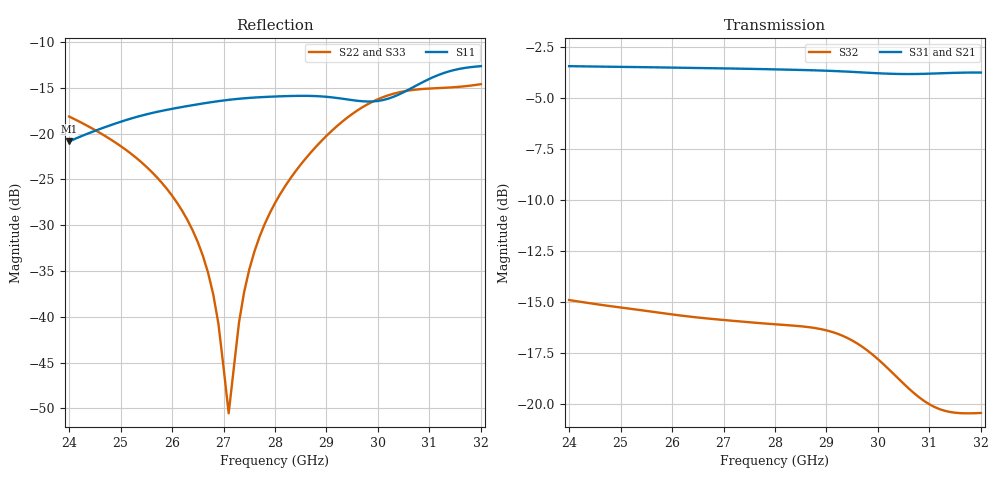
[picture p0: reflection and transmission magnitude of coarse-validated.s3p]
# GHz S RI R 50
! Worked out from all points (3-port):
!   81 points, 24 GHz to 32 GHz, reference 50 ohm
!   strongest paths, dB at 24 GHz, 26 GHz, 28 GHz, 30 GHz, 32 GHz:
!     S31: -3.4, -3.5, -3.6, -3.8, -3.7
!     S21: -3.4, -3.5, -3.6, -3.8, -3.7
!     S32: -14.9, -15.6, -16.1, -17.8, -20.4
!   lowest |S11| = -20.9 dB at 24 GHz (marker M1), VSWR 1.20, Z = 47.4 + j8.45 ohm
!   |S11| at or under -10 dB: start of sweep to end of sweep
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24  -0.0194 0.0884  0.6457 0.2072  0.6457 0.2072
    0.6422 0.2063  0.1236 -0.00782  -0.1505 0.0985
    0.6422 0.2063  -0.1505 0.0985  0.1236 -0.00782
25.4  0.0174 0.124  0.6729 -0.042  0.6729 -0.042
      0.6696 -0.0414  0.0611 -0.0339  -0.0515 0.1618
      0.6696 -0.0414  -0.0515 0.1618  0.0611 -0.0339
26.3  0.049 0.1326  0.6409 -0.2003  0.6409 -0.2003
      0.6379 -0.1987  0.0226 -0.025  0.0257 0.162
      0.6379 -0.1987  0.0257 0.162  0.0226 -0.025
26.8  0.0668 0.133  0.607 -0.2834  0.607 -0.2834
      0.6044 -0.2814  0.00557 -0.012  0.0668 0.1471
      0.6044 -0.2814  0.0668 0.1471  0.00557 -0.012
27.1  0.0777 0.1315  0.5814 -0.3308  0.5814 -0.3308
      0.579 -0.3287  -0.0025 -0.00162  0.0897 0.1329
      0.579 -0.3287  0.0897 0.1329  -0.0025 -0.00162
27.4  0.0882 0.1284  0.552 -0.3761  0.552 -0.3761
      0.5497 -0.3737  -0.00839 0.0108  0.1102 0.1147
      0.5497 -0.3737  0.1102 0.1147  -0.00839 0.0108
28  0.1061 0.1189  0.4823 -0.4586  0.4823 -0.4586
    0.4806 -0.4558  -0.0115 0.0401  0.1414 0.0679
    0.4806 -0.4558  0.1414 0.0679  -0.0115 0.0401
28.8  0.1238 0.1016  0.3699 -0.5484  0.3699 -0.5484
      0.3691 -0.5455  0.00873 0.0846  0.153 -0.0114
      0.3691 -0.5455  0.153 -0.0114  0.00873 0.0846
29.7  0.1236 0.0851  0.2237 -0.6141  0.2237 -0.6141
      0.2239 -0.6113  0.0826 0.1122  0.1034 -0.0914
      0.2239 -0.6113  0.1034 -0.0914  0.0826 0.1122
32  0.2237 0.066  -0.1706 -0.6303  -0.1706 -0.6303
    -0.1699 -0.6281  0.1767 -0.0581  -0.0312 -0.0897
    -0.1699 -0.6281  -0.0312 -0.0897  0.1767 -0.0581
